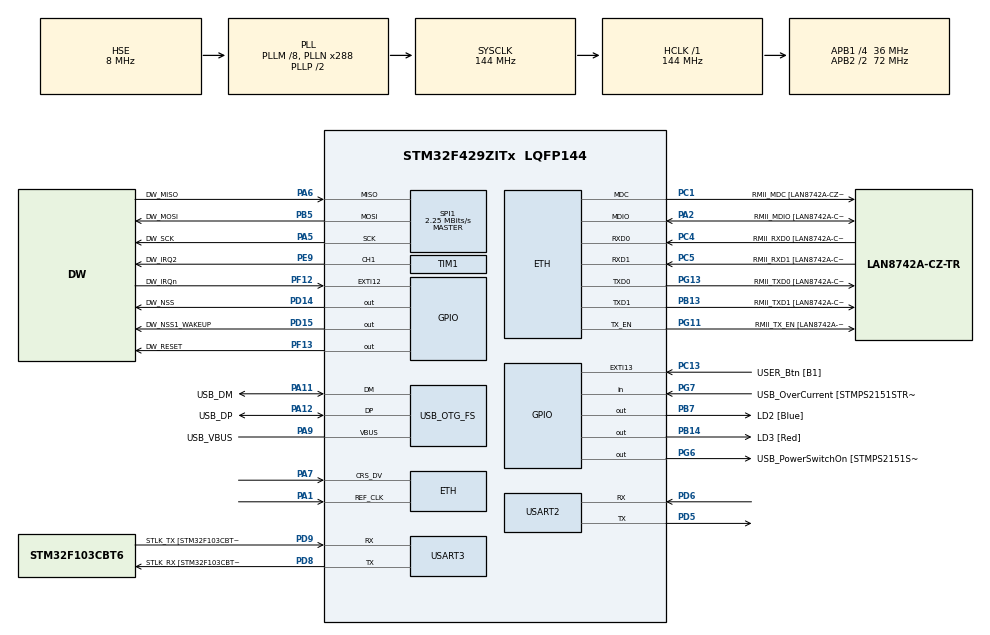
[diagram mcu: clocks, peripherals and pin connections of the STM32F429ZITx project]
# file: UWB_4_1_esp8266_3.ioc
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ETH.MediaInterface=HAL_ETH_RMII_MODE
ETH.PHY_Name=LAN8742A_PHY_ADDRESS
ETH.PHY_Value=0
ETH.PhyAddress=0
ETH.RxBuffLen=1536
LWIP.CHECKSUM_CHECK_ICMP=1
LWIP.CHECKSUM_GEN_ICMP=1
LWIP.LWIP_NETIF_LOOPBACK=1
LWIP.LWIP_STATS=1
LWIP.MEMP_NUM_UDP_PCB=6
LWIP.PBUF_POOL_BUFSIZE=1524
LWIP.Version=v2.1.2_Cube
Mcu.Family=STM32F4
Mcu.Name=STM32F429ZITx
Mcu.Package=LQFP144
Mcu.UserConstants=LWIP_TIMERVAL_PRIVATE,0
NVIC.ETH_IRQn=true\:0\:0\:false\:true\:true\:2\:true\:true\:true
NVIC.EXTI15_10_IRQn=true\:1\:0\:true\:false\:true\:true\:true\:true
NVIC.OTG_FS_IRQn=true\:0\:0\:false\:false\:true\:false\:true\:true
NVIC.PriorityGroup=NVIC_PRIORITYGROUP_4
NVIC.TIM1_CC_IRQn=true\:0\:0\:true\:true\:true\:1\:true\:true\:true
NVIC.TIM6_DAC_IRQn=true\:0\:0\:true\:false\:true\:false\:true\:true
NVIC.TimeBase=TIM6_DAC_IRQn
NVIC.TimeBaseIP=TIM6
NVIC.USART2_IRQn=true\:0\:0\:true\:false\:true\:true\:true\:true
NVIC.USART3_IRQn=true\:0\:0\:true\:false\:true\:true\:true\:true
PA1.Mode=RMII
PA1.Signal=ETH_REF_CLK
PA10.GPIO_Label=USB_ID
PA10.Signal=USB_OTG_FS_ID
PA11.GPIO_Label=USB_DM
PA11.Mode=Device_Only
PA11.Signal=USB_OTG_FS_DM
PA12.GPIO_Label=USB_DP
PA12.Mode=Device_Only
PA12.Signal=USB_OTG_FS_DP
PA13.GPIO_Label=TMS
PA13.Mode=Serial_Wire
PA13.Signal=SYS_JTMS-SWDIO
PA14.GPIO_Label=TCK
PA14.Mode=Serial_Wire
PA14.Signal=SYS_JTCK-SWCLK
PA2.GPIO_Label=RMII_MDIO [LAN8742A-CZ-TR_MDIO]
PA2.Mode=RMII
PA2.Signal=ETH_MDIO
PA5.GPIO_Label=DW_SCK
PA5.Mode=Full_Duplex_Master
PA5.Signal=SPI1_SCK
PA6.GPIO_Label=DW_MISO
PA6.Mode=Full_Duplex_Master
PA6.Signal=SPI1_MISO
PA7.Mode=RMII
PA7.Signal=ETH_CRS_DV
PA8.GPIO_Label=USB_SOF [TP1]
PA8.Signal=USB_OTG_FS_SOF
PA9.GPIO_Label=USB_VBUS
PA9.Mode=Activate_VBUS
PA9.Signal=USB_OTG_FS_VBUS
PB13.GPIO_Label=RMII_TXD1 [LAN8742A-CZ-TR_TXD1]
PB13.Mode=RMII
PB13.Signal=ETH_TXD1
PB14.GPIO_Label=LD3 [Red]
PB14.Signal=GPIO_Output
PB5.GPIO_Label=DW_MOSI
PB5.Mode=Full_Duplex_Master
PB5.Signal=SPI1_MOSI
PB7.GPIO_Label=LD2 [Blue]
PB7.Signal=GPIO_Output
PC1.GPIO_Label=RMII_MDC [LAN8742A-CZ-TR_MDC]
PC1.Mode=RMII
PC1.Signal=ETH_MDC
PC13.GPIO_Label=USER_Btn [B1]
PC13.Signal=GPXTI13
PC14/OSC32_IN.Mode=LSE-External-Oscillator
PC14/OSC32_IN.Signal=RCC_OSC32_IN
PC15/OSC32_OUT.Mode=LSE-External-Oscillator
PC15/OSC32_OUT.Signal=RCC_OSC32_OUT
PC4.GPIO_Label=RMII_RXD0 [LAN8742A-CZ-TR_RXD0]
PC4.Mode=RMII
PC4.Signal=ETH_RXD0
PC5.GPIO_Label=RMII_RXD1 [LAN8742A-CZ-TR_RXD1]
PC5.Mode=RMII
PC5.Signal=ETH_RXD1
PD14.GPIO_Label=DW_NSS
PD14.GPIO_PuPd=GPIO_PULLUP
PD14.GPIO_Speed=GPIO_SPEED_FREQ_MEDIUM
PD14.PinState=GPIO_PIN_SET
PD14.Signal=GPIO_Output
PD15.GPIO_Label=DW_NSS1_WAKEUP
PD15.GPIO_Speed=GPIO_SPEED_FREQ_MEDIUM
PD15.Signal=GPIO_Output
PD5.Mode=Asynchronous
PD5.Signal=USART2_TX
PD6.Mode=Asynchronous
PD6.Signal=USART2_RX
PD8.GPIO_Label=STLK_RX [STM32F103CBT6_PA3]
PD8.Mode=Asynchronous
PD8.Signal=USART3_TX
PD9.GPIO_Label=STLK_TX [STM32F103CBT6_PA2]
PD9.Mode=Asynchronous
PD9.Signal=USART3_RX
PE9.GPIO_Label=DW_IRQ2
PE9.Signal=S_TIM1_CH1
PF12.GPIO_Label=DW_IRQn
PF12.Signal=GPXTI12
PF13.GPIO_Label=DW_RESET
PF13.GPIO_ModeDefaultOutputPP=GPIO_MODE_OUTPUT_OD
PF13.GPIO_PuPd=GPIO_NOPULL
PF13.GPIO_Speed=GPIO_SPEED_FREQ_MEDIUM
PF13.Signal=GPIO_Output
PG11.GPIO_Label=RMII_TX_EN [LAN8742A-CZ-TR_TXEN]
PG11.Mode=RMII
PG11.Signal=ETH_TX_EN
PG13.GPIO_Label=RMII_TXD0 [LAN8742A-CZ-TR_TXD0]
PG13.Mode=RMII
PG13.Signal=ETH_TXD0
PG6.GPIO_Label=USB_PowerSwitchOn [STMPS2151STR_EN]
PG6.Signal=GPIO_Output
PG7.GPIO_Label=USB_OverCurrent [STMPS2151STR_FAULT]
PG7.Signal=GPIO_Input
PH0/OSC_IN.GPIO_Label=MCO [STM32F103CBT6_PA8]
PH0/OSC_IN.Mode=HSE-External-Clock-Source
PH0/OSC_IN.Signal=RCC_OSC_IN
PH1/OSC_OUT.Mode=HSE-External-Clock-Source
PH1/OSC_OUT.Signal=RCC_OSC_OUT
ProjectManager.HeapSize=0x200
ProjectManager.StackSize=0x400
ProjectManager.TargetToolchain=STM32CubeIDE
RCC.48MHZClocksFreq_Value=48000000
RCC.AHBFreq_Value=144000000
RCC.APB1CLKDivider=RCC_HCLK_DIV4
RCC.APB1Freq_Value=36000000
RCC.APB1TimFreq_Value=72000000
RCC.APB2CLKDivider=RCC_HCLK_DIV2
RCC.APB2Freq_Value=72000000
RCC.APB2TimFreq_Value=144000000
RCC.CortexFreq_Value=144000000
RCC.HCLKFreq_Value=144000000
RCC.HSE_VALUE=8000000
RCC.HSI_VALUE=16000000
RCC.PLLM=8
RCC.PLLMUL=RCC_PLL_MUL9
RCC.PLLN=288
RCC.PLLQ=6
RCC.PRESCALERUSB=RCC_USBCLKSOURCE_PLL_DIV1_5
RCC.SYSCLKFreq_VALUE=144000000
RCC.SYSCLKSource=RCC_SYSCLKSOURCE_PLLCLK
RCC.SYSCLKSourceVirtual=RCC_SYSCLKSOURCE_PLLCLK
RCC.USBFreq_Value=48000000
RCC.VCOOutputFreq_Value=288000000
SH.S_TIM1_CH1.0=TIM1_CH1,Output Compare1 CH1
SPI1.BaudRatePrescaler=SPI_BAUDRATEPRESCALER_32
SPI1.CalculateBaudRate=2.25 MBits/s
SPI1.Direction=SPI_DIRECTION_2LINES
SPI1.Mode=SPI_MODE_MASTER
SPI1.VirtualType=VM_MASTER
TIM1.Channel-Output\ Compare1\ CH1=TIM_CHANNEL_1
TIM1.ClockDivision=TIM_CLOCKDIVISION_DIV2
USART2.VirtualMode=VM_ASYNC
USART3.VirtualMode=VM_ASYNC
USB_DEVICE.CLASS_NAME_FS=CDC
USB_DEVICE.VirtualMode-CDC_FS=Cdc
USB_DEVICE.VirtualModeFS=Cdc_FS
USB_OTG_FS.VirtualMode=Device_Only
VP_LWIP_VS_Enabled.Mode=Enabled
VP_RNG_VS_RNG.Mode=RNG_Activate
VP_SYS_VS_tim6.Mode=TIM6
VP_TIM1_VS_ClockSourceINT.Mode=Internal
VP_TIM1_VS_ClockSourceITR.Mode=TriggerSource_ITR0
VP_TIM1_VS_ControllerModeTrigger.Mode=Trigger Mode
VP_USB_DEVICE_VS_USB_DEVICE_CDC_FS.Mode=CDC_FS
board=NUCLEO-F429ZI

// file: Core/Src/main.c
/* USER CODE BEGIN Header */
/**
  ******************************************************************************
  * @file           : main.c
  * @brief          : Main program body
  ******************************************************************************
  * @attention
  *
  * Copyright (c) 2025 STMicroelectronics.
  * All rights reserved.
  *
  * This software is licensed under terms that can be found in the LICENSE file
  * in the root directory of this software component.
  * If no LICENSE file comes with this software, it is provided AS-IS.
  *
  ******************************************************************************
  */
/* USER CODE END Header */
#include "main.h"
#include "lwip.h"
#include "rng.h"
#include "spi.h"
#include "tim.h"
#include "usart.h"
#include "usb_device.h"
#include "gpio.h"

/* USER CODE BEGIN Includes */

#include <stm32f4xx_hal.h>
#include "examples_defines.h"
#include <example_selection.h>
#include <port.h>
#include <core_cm4.h>
#include "ESP8266_HAL.h"
#include "UartRingbuffer_multi.h"
/* USER CODE END Includes */

/* USER CODE BEGIN PTD */

SPI_HandleTypeDef   *hcurrent_active_spi=&hspi1;//Is the current active SPI pointer - 1 or 2
uint16_t            pin_io_active_spi=DW_NSS_Pin;//CS IO for SPI. Default SPI1
GPIO_PinState       SPI_CS_state=GPIO_PIN_RESET;//Determine the CS for the IO
host_using_spi_e    host_spi = SPI_1;

SPI_HandleTypeDef   hspi4;

/* USER CODE END PTD */

/* USER CODE BEGIN PV */

#define UNIT_TEST 0
#define WAIT_FOR_USB_CDC 0

/* USER CODE END PV */

void SystemClock_Config(void);
static void MX_NVIC_Init(void);
/* USER CODE BEGIN PFP */

extern example_ptr example_pointer;
extern volatile uint8_t tag_position_updated;
extern int unit_test_main(void);
extern uint8_t CDC_Transmit_FS(uint8_t *Buf, uint16_t Len);

/* USER CODE END PFP */

/* USER CODE BEGIN 0 */

/*! ------------------------------------------------------------------------------------------------------------------
 * @fn test_run_info()
 *
 * @brief  This gets run info from a test and sends it through virtual COM port.
 *
 * @param data - Message data, this data should be NULL string.
 *
 * output parameters
 *
 * no return value
 */
void test_run_info(unsigned char *data)
{
    uint16_t data_length;

    data_length = strlen((const char *)data);
//    CDC_Transmit_FS(data, data_length); /*Transmit the data through USB - Virtual port*/
//    CDC_Transmit_FS((uint8_t *)"\n\r", 2); /*Transmit end of line through USB - Virtual port*/
    HAL_UART_Transmit(&huart3, (uint8_t *)data, data_length, HAL_MAX_DELAY); /* Transmit the data via UART3 */
    HAL_UART_Transmit(&huart3, (uint8_t *)"\r\n", 2, HAL_MAX_DELAY);

}

void wifi_send(unsigned char *data)
{
    uint16_t data_length;

    data_length = strlen((const char *)data);
//    CDC_Transmit_FS(data, data_length); /*Transmit the data through USB - Virtual port*/
//    CDC_Transmit_FS((uint8_t *)"\n\r", 2); /*Transmit end of line through USB - Virtual port*/
    HAL_UART_Transmit(&huart2, (uint8_t *)data, data_length, HAL_MAX_DELAY); /* Transmit the data via UART3 */
    HAL_UART_Transmit(&huart2, (uint8_t *)"\r\n", 2, HAL_MAX_DELAY);

}
/* USER CODE END 0 */

int main(void)
{

  /* MCU Configuration--------------------------------------------------------*/

  /* Reset of all peripherals, Initializes the Flash interface and the Systick. */
  HAL_Init();

  /* USER CODE BEGIN Init */

  build_examples();

  /* USER CODE END Init */

  /* Configure the system clock */
  SystemClock_Config();

  /* Initialize all configured peripherals */
  MX_GPIO_Init();
  MX_USART3_UART_Init();
  MX_TIM1_Init();
  MX_RNG_Init();
  MX_SPI1_Init();
  MX_LWIP_Init();
  MX_USB_DEVICE_Init();
  MX_USART2_UART_Init();

  /* Initialize interrupts */
  MX_NVIC_Init();
  /* USER CODE BEGIN 2 */
  DWT_Init();
  ESP_Init();
  /* disable IRQ from DW3000*/
  port_DisableEXT_IRQ();

  /*Sleep to wait for USB CDC to initialise with host*/
  #ifdef WAIT_FOR_USB_CDC
  Sleep(5000);
  #endif
  /*
   * DW_RESET_Pin has been configured by CubeMx as Exti0 line
   * Reconfigure the line as Input
   */
  setup_DWICRSTnIRQ(0);

  if (UNIT_TEST)
  {
	  unit_test_main();
  }
  else
  {
	  // Run the selected example as selected in example_selection.h
	  example_pointer();
  }
  /* USER CODE END 2 */

  /* Infinite loop */
  while (1)
  {

  }
}

void SystemClock_Config(void)
{
  RCC_OscInitTypeDef RCC_OscInitStruct = {0};
  RCC_ClkInitTypeDef RCC_ClkInitStruct = {0};

  /** Configure the main internal regulator output voltage
  */
  __HAL_RCC_PWR_CLK_ENABLE();
  __HAL_PWR_VOLTAGESCALING_CONFIG(PWR_REGULATOR_VOLTAGE_SCALE1);

  /** Initializes the RCC Oscillators according to the specified parameters
  * in the RCC_OscInitTypeDef structure.
  */
  RCC_OscInitStruct.OscillatorType = RCC_OSCILLATORTYPE_HSE;
  RCC_OscInitStruct.HSEState = RCC_HSE_BYPASS;
  RCC_OscInitStruct.PLL.PLLState = RCC_PLL_ON;
  RCC_OscInitStruct.PLL.PLLSource = RCC_PLLSOURCE_HSE;
  RCC_OscInitStruct.PLL.PLLM = 8;
  RCC_OscInitStruct.PLL.PLLN = 288;
  RCC_OscInitStruct.PLL.PLLP = RCC_PLLP_DIV2;
  RCC_OscInitStruct.PLL.PLLQ = 6;
  if (HAL_RCC_OscConfig(&RCC_OscInitStruct) != HAL_OK)
  {
    Error_Handler();
  }

  /** Initializes the CPU, AHB and APB buses clocks
  */
  RCC_ClkInitStruct.ClockType = RCC_CLOCKTYPE_HCLK|RCC_CLOCKTYPE_SYSCLK
                              |RCC_CLOCKTYPE_PCLK1|RCC_CLOCKTYPE_PCLK2;
  RCC_ClkInitStruct.SYSCLKSource = RCC_SYSCLKSOURCE_PLLCLK;
  RCC_ClkInitStruct.AHBCLKDivider = RCC_SYSCLK_DIV1;
  RCC_ClkInitStruct.APB1CLKDivider = RCC_HCLK_DIV4;
  RCC_ClkInitStruct.APB2CLKDivider = RCC_HCLK_DIV2;

  if (HAL_RCC_ClockConfig(&RCC_ClkInitStruct, FLASH_LATENCY_4) != HAL_OK)
  {
    Error_Handler();
  }
}

/**
  * @brief NVIC Configuration.
  * @retval None
  */
static void MX_NVIC_Init(void)
{
  /* TIM1_CC_IRQn interrupt configuration */
  HAL_NVIC_SetPriority(TIM1_CC_IRQn, 0, 0);
  HAL_NVIC_EnableIRQ(TIM1_CC_IRQn);
  /* ETH_IRQn interrupt configuration */
  HAL_NVIC_SetPriority(ETH_IRQn, 0, 0);
  HAL_NVIC_EnableIRQ(ETH_IRQn);
}

/* USER CODE BEGIN 4 */
//responder에서 사용할 딜레이 초기화 함수
void DWT_Init(void) {
    // Enable DWT
    CoreDebug->DEMCR |= CoreDebug_DEMCR_TRCENA_Msk;
    // Reset the cycle counter
    DWT->CYCCNT = 0;
    // Enable the cycle counter
    DWT->CTRL |= DWT_CTRL_CYCCNTENA_Msk;
}
/* USER CODE END 4 */

void HAL_TIM_PeriodElapsedCallback(TIM_HandleTypeDef *htim)
{
  if (htim->Instance == TIM6)
  {
    HAL_IncTick();
  }
}

void Error_Handler(void)
{
  __disable_irq();
  while (1)
  {
  }
}
